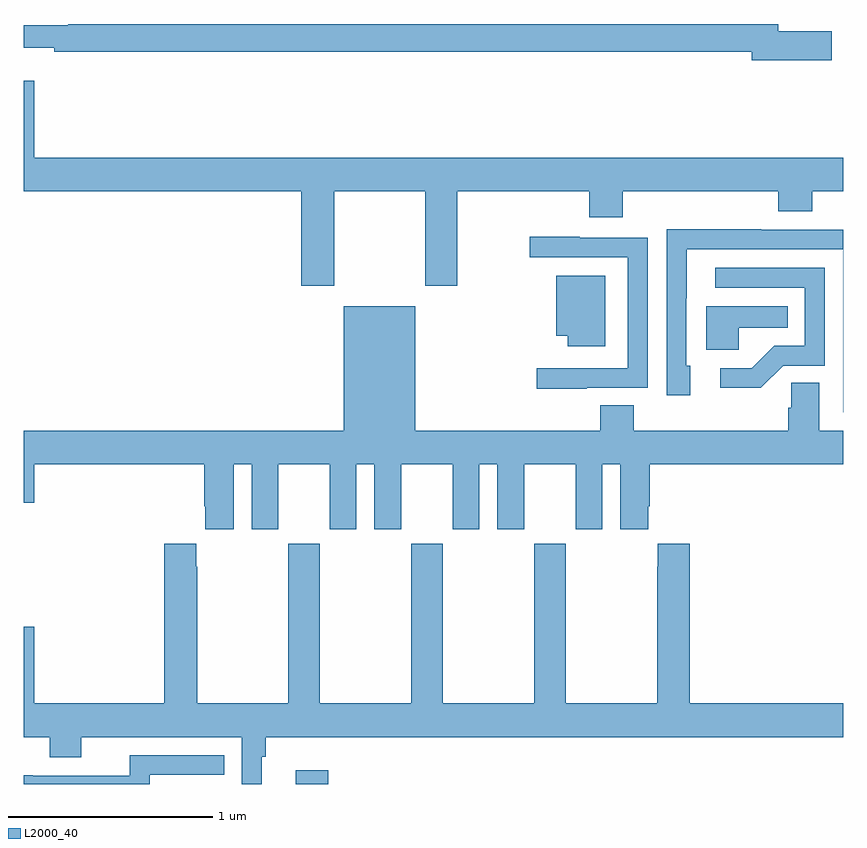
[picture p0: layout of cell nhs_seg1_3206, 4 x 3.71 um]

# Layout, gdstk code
import gdstk
lib = gdstk.Library(unit=1e-6, precision=1e-09)
def R(c, l, rs):  # rectangles x0, y0, x1, y1
    for r in rs: c.add(gdstk.rectangle(r[:2], r[2:], *l))
def P(c, l, *ps):  # polygons
    for p in ps: c.add(gdstk.Polygon(p, *l))
L2000_40 = (2000, 40)

nhs_seg1_3206 = lib.new_cell('nhs_seg1_3206')
R(nhs_seg1_3206, L2000_40, [(286.328,522.199,286.487,522.265)])
P(nhs_seg1_3206, L2000_40, [(288.943,525.872),(288.682,525.872),(288.682,525.908),(285.218,525.908),(285.218,525.901),(285,525.901),(285,525.791),(285.148,525.791),(285.148,525.772),(288.554,525.772),(288.554,525.73),(288.943,525.73)],
  [(286.515,525.092),(286.96,525.092),(286.96,524.631),(287.115,524.631),(287.115,525.092),(287.759,525.092),(287.759,524.964),(287.924,524.964),(287.924,525.092),(288.683,525.092),(288.683,524.993),(288.848,524.993),(288.848,525.092),(289,525.092),(289,525.256),(285.052,525.256),(285.052,525.631),(285,525.631),(285,525.092),(286.355,525.092),(286.355,524.631),(286.515,524.631)],
  [(289,524.904),(288.599,524.904),(288.599,524.906),(288.138,524.906),(288.138,524.097),(288.253,524.097),(288.253,524.241),(288.234,524.241),(288.234,524.569),(288.235,524.569),(288.235,524.808),(288.999,524.808),(288.999,524.013),(289,524.013)],
  [(287.749,524.133),(288.045,524.133),(288.045,524.865),(287.713,524.865),(287.713,524.869),(287.469,524.869),(287.469,524.769),(287.949,524.769),(287.949,524.229),(287.505,524.229),(287.505,524.129),(287.749,524.129)],
  [(288.708,524.241),(288.909,524.241),(288.909,524.718),(288.375,524.718),(288.375,524.622),(288.813,524.622),(288.813,524.337),(288.662,524.337),(288.554,524.229),(288.399,524.229),(288.399,524.132),(288.598,524.132)],
  [(287.839,524.68),(287.6,524.68),(287.6,524.387),(287.654,524.387),(287.654,524.336),(287.839,524.336)],
  [(286.024,523.76),(286.112,523.76),(286.112,523.443),(286.243,523.443),(286.243,523.76),(286.493,523.76),(286.493,523.443),(286.624,523.443),(286.624,523.76),(286.712,523.76),(286.712,523.443),(286.843,523.443),(286.843,523.76),(287.093,523.76),(287.093,523.443),(287.224,523.443),(287.224,523.76),(287.312,523.76),(287.312,523.443),(287.443,523.443),(287.443,523.76),(287.693,523.76),(287.693,523.443),(287.824,523.443),(287.824,523.76),(287.912,523.76),(287.912,523.443),(288.049,523.443),(288.049,523.555),(288.056,523.555),(288.056,523.76),(289,523.76),(289,523.924),(288.883,523.924),(288.883,524.156),(288.745,524.156),(288.745,524.036),(288.731,524.036),(288.731,523.924),(287.978,523.924),(287.978,524.048),(287.813,524.048),(287.813,523.924),(286.912,523.924),(286.912,524.53),(286.562,524.53),(286.562,523.924),(285,523.924),(285,523.572),(285.052,523.572),(285.052,523.76),(285.881,523.76),(285.881,523.555),(285.887,523.555),(285.887,523.443),(286.024,523.443)],
  [(288.49,524.426),(288.728,524.426),(288.728,524.53),(288.332,524.53),(288.332,524.318),(288.49,524.318)],
  [(289,522.592),(288.251,522.592),(288.251,523.371),(288.095,523.371),(288.095,523.259),(288.091,523.259),(288.091,522.592),(287.646,522.592),(287.646,523.371),(287.491,523.371),(287.491,522.592),(287.046,522.592),(287.046,523.371),(286.891,523.371),(286.891,522.592),(286.446,522.592),(286.446,523.371),(286.291,523.371),(286.291,522.592),(285.846,522.592),(285.846,523.259),(285.841,523.259),(285.841,523.371),(285.686,523.371),(285.686,522.592),(285.052,522.592),(285.052,522.967),(285,522.967),(285,522.428),(285.128,522.428),(285.128,522.329),(285.28,522.329),(285.28,522.428),(286.065,522.428),(286.065,522.199),(286.162,522.199),(286.162,522.332),(286.181,522.332),(286.181,522.428),(289,522.428)],
  [(285.616,522.243),(285.98,522.243),(285.98,522.339),(285.517,522.339),(285.517,522.24),(285.044,522.24),(285.044,522.242),(285,522.242),(285,522.199),(285.616,522.199)])

lib.write_gds('nhs_seg1_3206.gds')
